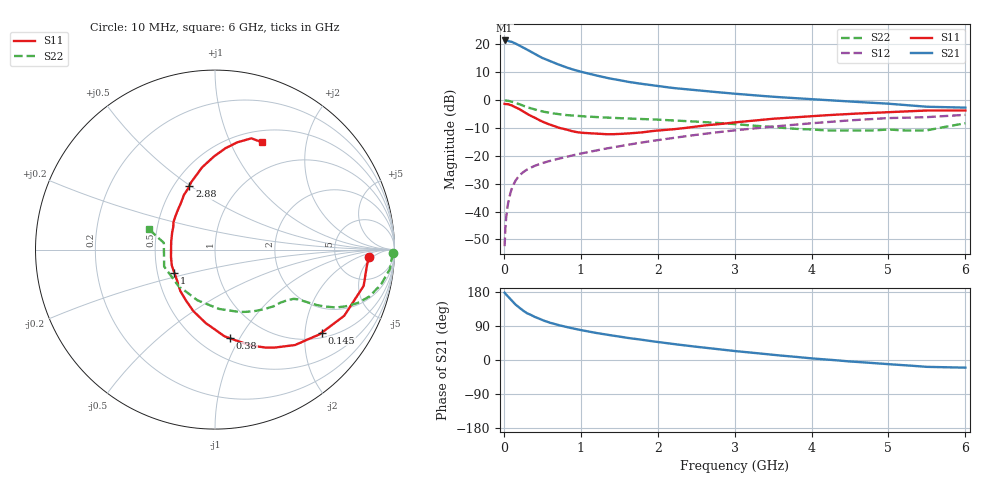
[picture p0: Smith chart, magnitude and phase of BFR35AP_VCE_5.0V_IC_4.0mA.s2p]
! Infineon Technologies  Discrete & RF Semiconductors
! BFR35AP
! VCE =  5.0 V,  IC =  4.0 mA
! Common Emitter S-Parameters:  Nov 2015
# GHz  S  MA  R  50
!  f  S11  S21  S12  S22
! GHz  MAG  ANG  MAG  ANG  MAG  ANG  MAG  ANG
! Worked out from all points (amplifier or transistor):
!   210 points, 10 MHz to 6 GHz, reference 50 ohm
!   highest |S21| = 21.4 dB at 10 MHz (marker M1)
!   |S21| within 3 dB of that: start of sweep to 283.5 MHz
!   unconditionally stable (mu >= 1): 894.7 MHz to 3.366 GHz
!   at 185 MHz: K = 0.32, MSG = 23.7 dB, |S12| = -27.6 dB
!   at 1.52 GHz: K = 1.12, MAG = 9.7 dB, |S12| = -16.4 dB
!   at 6 GHz: K = 0.94, MSG = 1.3 dB, |S12| = -5.3 dB
!   S11 on the Smith chart (normalised r, x): 10 MHz: 12, -4; 145 MHz: 1.15, -2.45; 380 MHz: 0.69, -0.91; 1 GHz: 0.61, -0.17; 2.88 GHz: 0.60, +0.49; 6 GHz: 0.64, +1.32
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0.01  0.8601 -2.8  11.79 177.6  0.0024 88.1  0.9946 -1.2
0.02  0.8514 -5.6  11.75 174.9  0.0051 86.1  0.9865 -2.6
0.04  0.8503 -11.0  11.63 170.6  0.0102 83.5  0.982 -5.1
0.1  0.8089 -27.1  11.19 157.5  0.0251 76.2  0.9447 -12.0
0.145  0.7538 -37.8  10.48 147.8  0.0345 70.1  0.902 -16.5
0.2  0.694 -50.0  9.633 138.3  0.0442 65.6  0.8488 -20.5
0.26  0.6164 -62.4  8.709 129.0  0.052 61.0  0.7865 -23.8
0.3  0.5699 -69.7  8.104 123.6  0.0567 59.1  0.7493 -25.5
0.38  0.5003 -80.5  7.015 116.1  0.0643 56.6  0.6939 -27.2
0.4  0.4862 -83.7  6.765 113.9  0.0662 56.1  0.6801 -27.7
0.5  0.4133 -97.0  5.733 105.1  0.0742 54.7  0.6276 -29.0
0.6  0.3641 -109.2  5.017 98.3  0.0815 54.3  0.5898 -29.7
0.8  0.3003 -130.2  3.919 87.6  0.0956 54.7  0.5425 -30.8
1  0.2614 -149.7  3.242 79.0  0.1101 55.1  0.5168 -32.1
1.02  0.2598 -151.7  3.192 78.3  0.1116 55.2  0.5147 -32.3
1.4  0.2447 176.5  2.416 64.9  0.1405 56.2  0.4834 -36.5
2.02  0.2867 140.9  1.779 47.0  0.1938 54.6  0.4461 -45.9
2.88  0.3819 112.0  1.352 26.5  0.2756 48.6  0.3819 -65.3
3.1  0.4104 107.0  1.272 21.8  0.2968 46.3  0.362 -71.9
4.1  0.5277 89.3  1.022 2.8  0.3945 35.1  0.2917 -114.1
5.1  0.6185 76.9  0.843 -12.4  0.4804 21.0  0.2917 -166.5
6  0.6528 66.4  0.735 -20.2  0.5453 10.3  0.3843 162.9
